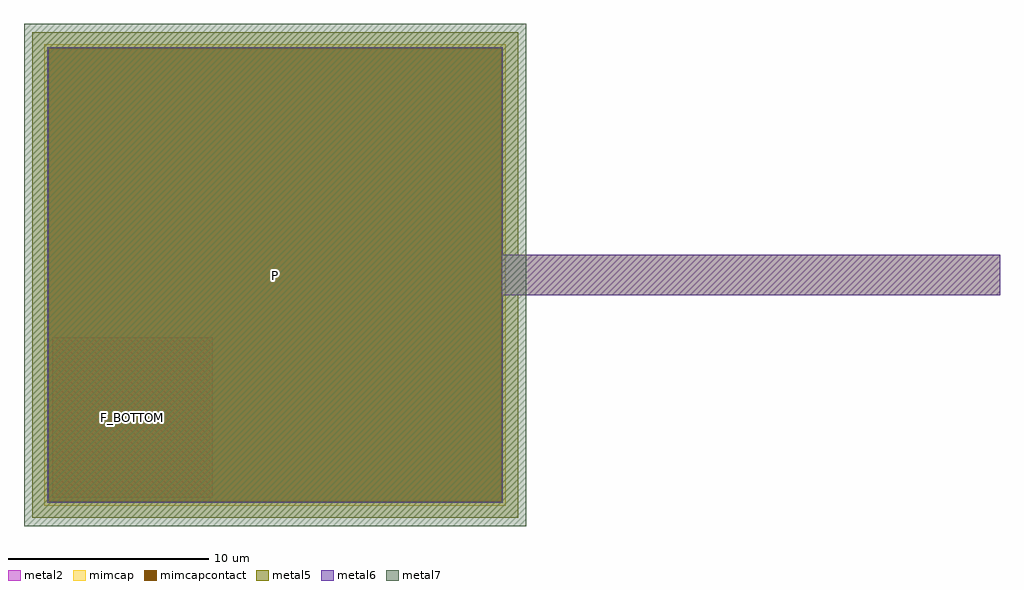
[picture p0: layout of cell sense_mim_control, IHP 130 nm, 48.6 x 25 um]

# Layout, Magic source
magic
tech ihp-sg13g2
<< metal2 >>
rect 4431 19860 5231 20660
<< metal5 >>
rect 4331 21070 6751 22180
rect 4331 20870 9151 21070
rect 4331 19760 6751 20870
<< mimcap >>
rect 4391 22098 6691 22120
rect 4391 19842 4413 22098
rect 6669 19842 6691 22098
rect 4391 19820 6691 19842
<< mimcapcontact >>
rect 4413 19842 6669 22098
<< metal6 >>
rect 4407 22098 6675 22104
rect 4407 19842 4413 22098
rect 6669 21070 6675 22098
rect 6669 20870 9151 21070
rect 6669 19842 6675 20870
rect 4407 19836 6675 19842
<< metal7 >>
rect 4291 19720 6791 22220
<< labels >>
rlabel metal6 s 5541 20970 5541 20970 4 P
rlabel metal5 s 5541 20970 5541 20970 4 N
rlabel metal7 s 5541 20970 5541 20970 4 F_TOP
rlabel metal2 s 4831 20260 4831 20260 4 F_BOTTOM
<< end >>
